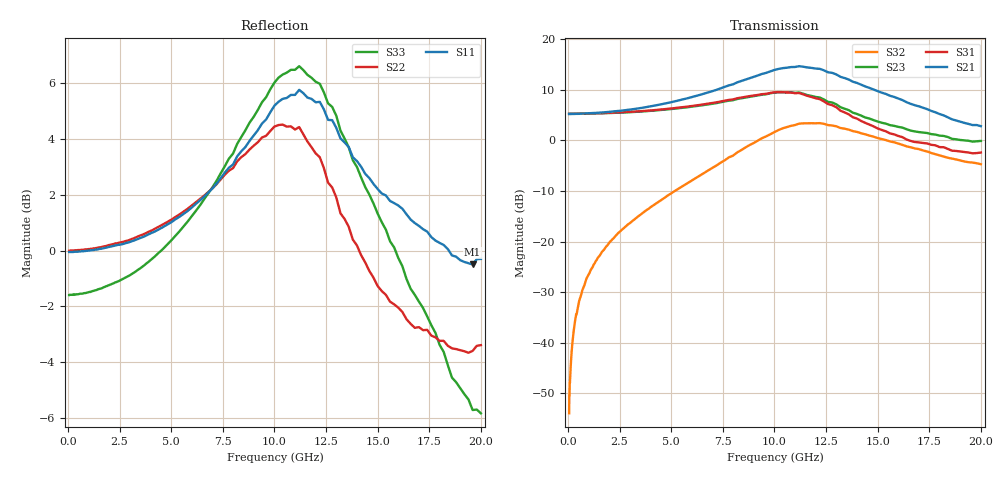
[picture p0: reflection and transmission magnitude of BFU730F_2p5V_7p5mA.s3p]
! Filename:  P:\Prog\Test\Noise\ATS_data\Testdata_Net\Split files Spar\BFU730_2W_B1_Bias5_2.5V_1mA_25mA_D.s2p
! Date/Time: Fri 29/Apr/2011 15:08:25
! BFU730_2W_B1_Bias5_2.5V_1mA_25mA_R.s2p
! MDIF S-parameter v. bias file
! BFU730_2W_B1_2.5V_1mA_25mA
! Date/time Thu Mar 17 13:38:09 2011
! VAR V_out= 2.5000
! VAR I_out= 7.5600
! VAR V_in= 0.7941
! VAR I_in= 0.0222
! Device data file deembeded for feedlines and parallel
! Original file: \Split files Spar\BFU730_2W_B1_Bias5_2.5V_1mA_25mA_R.s2p
! Feed-files: PR003V01_101208_Feed1.s2p, PR003V01_101208_Feed2.s2p
! Parallel-file: PR003V01_101208_Par.s2p
!3-port S-parameters
# GHz S MA R 50
!  Freq-GHz  S11-mag  S11-arg  S12-mag  S12-arg  S13-mag  S13-arg  S21-mag  S21-arg  S22-mag  S22-arg  S23-mag  S23-arg  S31-mag  S31-arg  S32-mag  S32-arg  S33-mag  S33-arg
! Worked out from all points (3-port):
!   165 points, 60 MHz to 20 GHz, reference 50 ohm
!   strongest paths, dB at 60 MHz, 1.35 GHz, 4.3 GHz, 11.8 GHz, 20 GHz:
!     S21: 5.2, 5.4, 7.0, 14.3, 2.8
!     S31: 5.3, 5.3, 6.0, 8.6, -2.4
!     S23: 5.2, 5.3, 5.9, 8.8, -0.1
!     S32: -54.0, -23.9, -12.4, 3.4, -4.7
!   lowest |S11| = -0.5 dB at 19.6 GHz (marker M1), VSWR 34.71, Z = 9.31 + j117 ohm
!   |S11| at or under -10 dB: nowhere
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0.06  0.994 -0.4  0.002 85.9  0.008 38.4
      1.825 179.5  0.999 -0.3  1.826 -0.4
      1.831 -0.3  0.002 80.6  0.832 179.5
1.35  1.004 -9.6  0.052 90.7  0.115 84.6
      1.868 168.2  1.01 -6.6  1.844 -8.3
      1.851 -6.7  0.064 92.6  0.849 169.8
7.2  1.317 -67.0  0.442 73.7  0.867 65.4
     3.162 111.2  1.314 -48.9  2.338 -56.9
     2.379 -46.8  0.565 88.9  1.333 118.6
9  1.607 -100.3  0.708 56.3  1.336 48.0
   4.248 84.0  1.541 -76.5  2.733 -85.9
   2.774 -72.3  0.942 74.8  1.736 92.9
10.2  1.847 -131.7  0.924 36.9  1.703 28.9
      5.089 58.9  1.678 -104.3  2.989 -114.0
      3.004 -97.7  1.265 57.8  2.04 69.1
11.8  1.869 177.6  1.029 3.4  1.845 -4.3
      5.207 17.9  1.531 -151.7  2.75 -161.4
      2.681 -141.1  1.478 26.8  2.039 29.9
13.8  1.469 123.2  0.801 -29.4  1.386 -37.1
      3.801 -24.3  1.046 152.7  1.879 144.8
      1.694 168.7  1.235 -4.0  1.451 -9.8
16.4  1.161 78.0  0.516 -50.6  0.853 -59.7
      2.385 -58.0  0.753 100.0  1.289 95.9
      1.021 119.6  0.873 -23.1  0.889 -37.9
19.6  0.944 46.2  0.341 -55.6  0.429 -68.9
      1.417 -82.9  0.661 63.9  0.972 56.8
      0.745 76.7  0.603 -31.1  0.518 -52.9
20  0.966 42.4  0.321 -57.6  0.398 -73.2
    1.382 -86.9  0.677 59.9  0.987 53.6
    0.758 73.8  0.581 -32.8  0.511 -54.0
